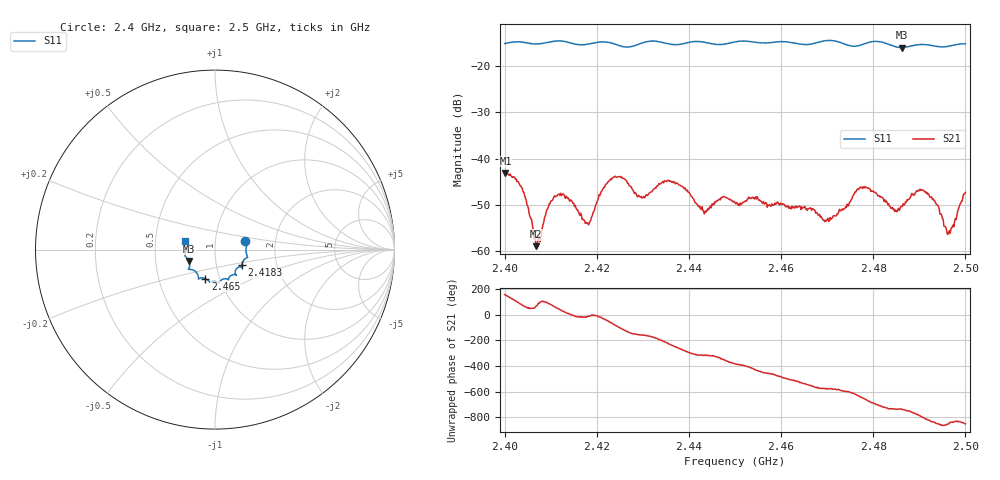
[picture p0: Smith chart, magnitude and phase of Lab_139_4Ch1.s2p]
# Hz S RI R 50
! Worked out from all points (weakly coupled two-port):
!   601 points, 2.4 GHz to 2.5 GHz, reference 50 ohm
!   highest |S21| = -43.09 dB at 2.4002 GHz (marker M1); lowest = -58.9 dB at 2.4068 GHz (marker M2)
!   lowest |S11| = -16.0 dB at 2.4862 GHz (marker M3), VSWR 1.38, Z = 37.1 - j4.8 ohm
!   |S11| at or under -10 dB: start of sweep to end of sweep
!   S12 and S22 are empty: the file has one direction only
!   S11 on the Smith chart (normalised r, x): 2.4 GHz: 1.40, +0.13; 2.4183 GHz: 1.33, -0.24; 2.465 GHz: 0.86, -0.29; 2.5 GHz: 0.71, +0.07
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2.4e9  0.1687 0.0454  -0.00634 0.00284  0 0  0 0
2.400167e9  0.1697 0.0445  -0.00622 0.00322  0 0  0 0
2.403833e9  0.179 0.0282  0.00143 0.00457  0 0  0 0
2.406833e9  0.1728 -0.0013  0.000467 0.00104  0 0  0 0
2.411333e9  0.1817 -0.0403  0.00245 0.0031  0 0  0 0
2.416667e9  0.1548 -0.0684  0.00234 -0.000705  0 0  0 0
2.418333e9  0.1498 -0.0869  0.00193 -0.000424  0 0  0 0
2.4235e9  0.146 -0.0969  0.00192 -0.00596  0 0  0 0
2.429833e9  0.1135 -0.1355  -0.00346 -0.00145  0 0  0 0
2.433333e9  0.1168 -0.1415  -0.0051 0.000995  0 0  0 0
2.437833e9  0.0833 -0.1489  -0.000604 0.00518  0 0  0 0
2.4435e9  0.0701 -0.1655  0.0019 0.00193  0 0  0 0
2.45e9  0.025 -0.1805  0.00307 -0.00134  0 0  0 0
2.465e9  -0.053 -0.1621  -0.003 -0.00017  0 0  0 0
2.466667e9  -0.0715 -0.1575  -0.00267 0.000768  0 0  0 0
2.47e9  -0.0922 -0.164  -0.0017 0.0014  0 0  0 0
2.477667e9  -0.1291 -0.1117  0.00151 0.00452  0 0  0 0
2.483333e9  -0.1421 -0.0959  0.00317 -0.00076  0 0  0 0
2.486167e9  -0.1448 -0.0631  0.00295 -0.000749  0 0  0 0
2.490833e9  -0.1672 -0.0336  0.000642 -0.00451  0 0  0 0
2.4965e9  -0.1623 0.0223  -0.000975 -0.00136  0 0  0 0
2.5e9  -0.1668 0.0473  -0.00277 -0.00331  0 0  0 0
